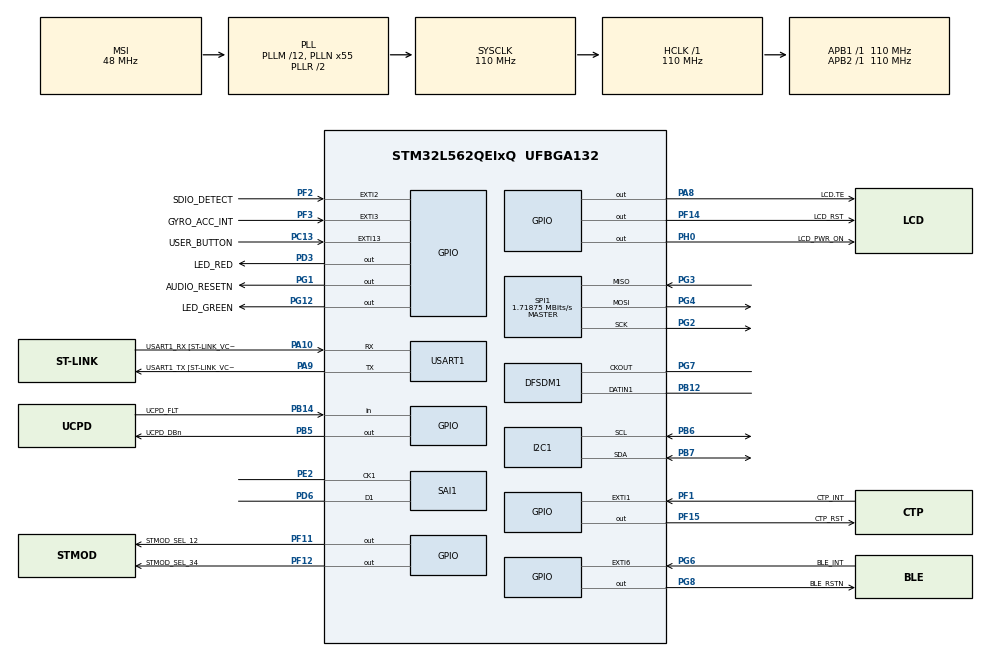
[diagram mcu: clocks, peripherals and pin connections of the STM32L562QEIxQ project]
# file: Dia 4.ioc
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DFSDM1.Filter_regChannel_FIL0=DFSDM_CHANNEL_1
I2C1.Timing=0x60514452
Mcu.Family=STM32L5
Mcu.Name=STM32L562QEIxQ
Mcu.Package=UFBGA132
Mcu.TrustZone=disable
NVIC.EXTI13_IRQn=true\:0\:0\:false\:false\:true\:true\:true\:true
NVIC.PriorityGroup=NVIC_PRIORITYGROUP_3
NVIC.SPI1_IRQn=true\:3\:0\:true\:false\:true\:true\:true\:true
NVIC.TIM2_IRQn=true\:1\:0\:true\:false\:true\:true\:true\:true
NVIC.USART1_IRQn=true\:2\:0\:true\:false\:true\:true\:true\:true
PA10.GPIO_Label=USART1_RX [ST-LINK_VCP_TX]
PA10.Mode=Asynchronous
PA10.Signal=USART1_RX
PA11.Signal=USB_DM
PA12.Signal=USB_DP
PA13\ (JTMS/SWDIO).Signal=DEBUG_JTMS-SWDIO
PA14\ (JTCK/SWCLK).Signal=DEBUG_JTCK-SWCLK
PA15\ (JTDI).Signal=UCPD1_CC1
PA2.Signal=OCTOSPI1_NCS
PA3.Signal=OCTOSPI1_CLK
PA4.GPIO_Label=VBUS_SENSE
PA4.Signal=ADCx_IN9
PA6.Signal=OCTOSPI1_IO3
PA7.Signal=OCTOSPI1_IO2
PA8.GPIO_Label=LCD.TE
PA8.Signal=GPIO_Output
PA9.GPIO_Label=USART1_TX [ST-LINK_VCP_RX]
PA9.Mode=Asynchronous
PA9.Signal=USART1_TX
PB0.Signal=OCTOSPI1_IO1
PB1.Signal=OCTOSPI1_IO0
PB10.Signal=LPUART1_RX
PB11.Signal=LPUART1_TX
PB12.Signal=S_DATAIN1DFSDM1
PB14.GPIO_Label=UCPD_FLT
PB14.Signal=GPIO_Input
PB15.Signal=UCPD1_CC2
PB2.Signal=OCTOSPI1_DQS
PB3\ (JTDO/TRACESWO).Signal=DEBUG_JTDO-SWO
PB5.GPIO_Label=UCPD_DBn
PB5.Signal=GPIO_Output
PB6.Mode=I2C
PB6.Signal=I2C1_SCL
PB7.Mode=I2C
PB7.Signal=I2C1_SDA
PC0.Signal=OCTOSPI1_IO7
PC1.Signal=OCTOSPI1_IO4
PC10.Signal=SDMMC1_D2
PC11.Signal=SDMMC1_D3
PC12.Signal=SDMMC1_CK
PC13.GPIO_Label=USER_BUTTON
PC13.GPIO_ModeDefaultEXTI=GPIO_MODE_IT_FALLING
PC13.GPIO_PuPd=GPIO_PULLDOWN
PC13.Signal=GPXTI13
PC14-OSC32_IN\ (PC14).Signal=RCC_OSC32_IN
PC15-OSC32_OUT\ (PC15).Signal=RCC_OSC32_OUT
PC2.Signal=OCTOSPI1_IO5
PC3.Signal=OCTOSPI1_IO6
PC8.Signal=SDMMC1_D0
PC9.Signal=SDMMC1_D1
PD0.Signal=FMC_D2_DA2
PD1.Signal=FMC_D3_DA3
PD10.Signal=FMC_D15_DA15
PD14.Signal=FMC_D0_DA0
PD15.Signal=FMC_D1_DA1
PD2.Signal=SDMMC1_CMD
PD3.GPIO_Label=LED_RED
PD3.Signal=GPIO_Output
PD4.Signal=FMC_NOE
PD5.Signal=FMC_NWE
PD6.Mode=PDM_Master_Mode_CK1
PD6.Signal=SAI1_D1
PD7.Signal=FMC_NE1
PD8.Signal=FMC_D13_DA13
PD9.Signal=FMC_D14_DA14
PE1.GPIO_Label=LCD_BL_PWM
PE1.Signal=S_TIM17_CH1
PE10.Signal=FMC_D7_DA7
PE11.Signal=FMC_D8_DA8
PE12.Signal=FMC_D9_DA9
PE13.Signal=FMC_D10_DA10
PE14.Signal=FMC_D11_DA11
PE15.Signal=FMC_D12_DA12
PE2.Mode=PDM_Master_Mode_CK1
PE2.Signal=SAI1_CK1
PE3.Signal=SAI1_SD_B
PE4.Signal=SAI1_FS_A
PE5.Signal=SAI1_SCK_A
PE6.Signal=SAI1_SD_A
PE7.Signal=FMC_D4_DA4
PE8.Signal=FMC_D5_DA5
PE9.Signal=FMC_D6_DA6
PF0.Signal=FMC_A0
PF1.GPIO_Label=CTP_INT
PF1.Signal=GPXTI1
PF11.GPIO_Label=STMOD_SEL_12
PF11.Signal=GPIO_Output
PF12.GPIO_Label=STMOD_SEL_34
PF12.Signal=GPIO_Output
PF14.GPIO_Label=LCD_RST
PF14.Signal=GPIO_Output
PF15.GPIO_Label=CTP_RST
PF15.Signal=GPIO_Output
PF2.GPIO_Label=SDIO_DETECT
PF2.Signal=GPXTI2
PF3.GPIO_Label=GYRO_ACC_INT
PF3.Signal=GPXTI3
PG1.GPIO_Label=AUDIO_RESETN
PG1.Signal=GPIO_Output
PG12.GPIO_Label=LED_GREEN
PG12.Signal=GPIO_Output
PG2.Mode=Full_Duplex_Master
PG2.Signal=SPI1_SCK
PG3.Mode=Full_Duplex_Master
PG3.Signal=SPI1_MISO
PG4.Mode=Full_Duplex_Master
PG4.Signal=SPI1_MOSI
PG5.GPIO_Label=BLE_CSN
PG5.Signal=SPI1_NSS
PG6.GPIO_Label=BLE_INT
PG6.Signal=GPXTI6
PG7.Signal=S_CKOUTDFSDM1
PG8.GPIO_Label=BLE_RSTN
PG8.Signal=GPIO_Output
PH0-OSC_IN\ (PH0).GPIO_Label=LCD_PWR_ON
PH0-OSC_IN\ (PH0).Signal=GPIO_Output
ProjectManager.HeapSize=0x200
ProjectManager.StackSize=0x400
ProjectManager.TargetToolchain=STM32CubeIDE
RCC.ADCFreq_Value=96000000
RCC.AHBFreq_Value=110000000
RCC.APB1Freq_Value=110000000
RCC.APB1TimFreq_Value=110000000
RCC.APB2Freq_Value=110000000
RCC.APB2TimFreq_Value=110000000
RCC.CK48CLockSelection=RCC_USBCLKSOURCE_MSI
RCC.CortexFreq_Value=110000000
RCC.HCLKFreq_Value=110000000
RCC.HSE_VALUE=8000000
RCC.HSI48_VALUE=48000000
RCC.HSI_VALUE=16000000
RCC.MSIClockRange=RCC_MSIRANGE_11
RCC.MSI_VALUE=48000000
RCC.PLLM=12
RCC.PLLN=55
RCC.PLLSAI1M=4
RCC.PLLSAI1N=48
RCC.PLLSAI1P=RCC_PLLP_DIV17
RCC.PLLSAI1Source=RCC_PLLSAI1SOURCE_HSI
RCC.SDMMCClockSelection=RCC_SDIOCLKSOURCE_CLK48
RCC.SYSCLKFreq_VALUE=110000000
RCC.SYSCLKSource=RCC_SYSCLKSOURCE_PLLCLK
RCC.USBFreq_Value=48000000
RCC.VCOOutputFreq_Value=220000000
SAI1.Activation=ENABLE
SAI1.ErrorAudioFreq-PDM_Master_Mode_CK1=-77.02 %
SAI1.Instance-PDM_Master_Mode_CK1=SAI$Index_Block_A
SAI1.MckOutput-PDM_Master_Mode_CK1=SAI_MCK_OUTPUT_DISABLE
SAI1.RealAudioFreq-PDM_Master_Mode_CK1=44.117 KHz
SAI1.VirtualMode-PDM_Master_Mode_CK1=VM_MASTER
SAI1.VirtualProtocol-PDM_Master_Mode_CK1=VM_PDM_PROTOCOL
SH.ADCx_IN9.0=ADC1_IN9
SH.FMC_A0.0=FMC_A0
SH.FMC_D0_DA0.0=FMC_DA0
SH.FMC_D0_DA0.1=FMC_D0
SH.FMC_D10_DA10.0=FMC_DA10
SH.FMC_D10_DA10.1=FMC_D10
SH.FMC_D11_DA11.0=FMC_DA11
SH.FMC_D11_DA11.1=FMC_D11
SH.FMC_D12_DA12.0=FMC_DA12
SH.FMC_D12_DA12.1=FMC_D12
SH.FMC_D13_DA13.0=FMC_DA13
SH.FMC_D13_DA13.1=FMC_D13
SH.FMC_D14_DA14.0=FMC_DA14
SH.FMC_D14_DA14.1=FMC_D14
SH.FMC_D15_DA15.0=FMC_DA15
SH.FMC_D15_DA15.1=FMC_D15
SH.FMC_D1_DA1.0=FMC_DA1
SH.FMC_D1_DA1.1=FMC_D1
SH.FMC_D2_DA2.0=FMC_DA2
SH.FMC_D2_DA2.1=FMC_D2
SH.FMC_D3_DA3.0=FMC_DA3
SH.FMC_D3_DA3.1=FMC_D3
SH.FMC_D4_DA4.0=FMC_DA4
SH.FMC_D4_DA4.1=FMC_D4
SH.FMC_D5_DA5.0=FMC_DA5
SH.FMC_D5_DA5.1=FMC_D5
SH.FMC_D6_DA6.0=FMC_DA6
SH.FMC_D6_DA6.1=FMC_D6
SH.FMC_D7_DA7.0=FMC_DA7
SH.FMC_D7_DA7.1=FMC_D7
SH.FMC_D8_DA8.0=FMC_DA8
SH.FMC_D8_DA8.1=FMC_D8
SH.FMC_D9_DA9.0=FMC_DA9
SH.FMC_D9_DA9.1=FMC_D9
SH.FMC_NOE.0=FMC_NOE
SH.FMC_NWE.0=FMC_NWE
SH.S_CKOUTDFSDM1.0=DFSDM1_CKOUT,PDM_SPI_input_from_ch1_and_internal_clock
SH.S_DATAIN1DFSDM1.0=DFSDM1_DATIN1,PDM_SPI_input_from_ch1_and_internal_clock
SH.S_TIM17_CH1.0=TIM17_CH1
SPI1.BaudRatePrescaler=SPI_BAUDRATEPRESCALER_64
SPI1.CalculateBaudRate=1.71875 MBits/s
SPI1.DataSize=SPI_DATASIZE_8BIT
SPI1.Direction=SPI_DIRECTION_2LINES
SPI1.Mode=SPI_MODE_MASTER
SPI1.NSSPMode=SPI_NSS_PULSE_DISABLE
SPI1.VirtualType=VM_MASTER
TIM2.Period=9
TIM2.Prescaler=10999
USART1.VirtualMode-Asynchronous=VM_ASYNC
VP_ICACHE_VS_ICACHE.Mode=DirectMappedCache
VP_PWR_VS_DBSignals.Mode=DisableDeadBatterySignals
VP_PWR_VS_SECSignals.Mode=Security/Privilege
VP_TIM2_VS_ClockSourceINT.Mode=Internal
board=STM32L562E-DK

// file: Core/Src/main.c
/* USER CODE BEGIN Header */
/**
  ******************************************************************************
  * @file           : main.c
  * @brief          : Main program body
  ******************************************************************************
  * @attention
  *
  * Copyright (c) 2025 STMicroelectronics.
  * All rights reserved.
  *
  * This software is licensed under terms that can be found in the LICENSE file
  * in the root directory of this software component.
  * If no LICENSE file comes with this software, it is provided AS-IS.
  *
  ******************************************************************************
  */
/* USER CODE END Header */
#include "main.h"

/* USER CODE BEGIN Includes */
#include <stdio.h>
#include <string.h>
/* USER CODE END Includes */

/* USER CODE BEGIN PD */

volatile struct {
    uint8_t user_button_pushed : 1;  // solo 1 bit
    uint8_t future_bool : 1; 		 // solo 1 bit
    uint8_t undefined : 6; 			 // los 6 bits restantes del byte
} bools;

/* USER CODE END PD */

/* USER CODE BEGIN PM */

uint16_t second_period = 0;

/* USER CODE END PM */

DFSDM_Filter_HandleTypeDef hdfsdm1_filter0;
DFSDM_Channel_HandleTypeDef hdfsdm1_channel1;

I2C_HandleTypeDef hi2c1;

SAI_HandleTypeDef hsai_BlockA1;

SPI_HandleTypeDef hspi1;

TIM_HandleTypeDef htim2;

UART_HandleTypeDef huart1;

void SystemClock_Config(void);
static void MX_GPIO_Init(void);
static void MX_ICACHE_Init(void);
static void MX_I2C1_Init(void);
static void MX_SPI1_Init(void);
static void MX_TIM2_Init(void);
static void MX_USART1_UART_Init(void);
static void MX_SAI1_Init(void);
static void MX_DFSDM1_Init(void);

int main(void)
{

  /* MCU Configuration--------------------------------------------------------*/

  /* Reset of all peripherals, Initializes the Flash interface and the Systick. */
  HAL_Init();

  /* Configure the system clock */
  SystemClock_Config();

  /* Initialize all configured peripherals */
  MX_GPIO_Init();
  MX_ICACHE_Init();
  MX_I2C1_Init();
  MX_SPI1_Init();
  MX_TIM2_Init();
  MX_USART1_UART_Init();
  MX_SAI1_Init();
  MX_DFSDM1_Init();
  /* USER CODE BEGIN 2 */

  bools.user_button_pushed= 0;																			//No se puede usar fuera de una función
  HAL_TIM_Base_Start_IT(&htim2);
  HAL_SAI_Init(&hsai_BlockA1);
  HAL_UART_Init(&huart1);

  //desesperado

  HAL_DFSDM_ChannelInit(&hdfsdm1_channel1);
  HAL_DFSDM_FilterInit(&hdfsdm1_filter0);
  HAL_DFSDM_FilterMspInit(&hdfsdm1_filter0);

  uint32_t buffer[16];
  char msg[1280];
  /* USER CODE END 2 */

  /* Infinite loop */
  while (1)
  {

    /* USER CODE BEGIN 3 */
//	/*
	  if(bools.user_button_pushed==1){
//		HAL_SAI_Receive(&hsai_BlockA1, buffer, 16, HAL_MAX_DELAY);

		HAL_Delay(2000);
		HAL_GPIO_WritePin(LED_RED_GPIO_Port, LED_RED_Pin, RESET);
		for(int i =0; i<16; i++ ){

			  HAL_DFSDM_FilterRegularStart(&hdfsdm1_filter0);
			  HAL_Delay(10);
			  HAL_DFSDM_FilterPollForRegConversion(&hdfsdm1_filter0, 100);
			  HAL_DFSDM_FilterGetRegularValue(&hdfsdm1_filter0, &buffer[i]);

			sprintf(msg, "%lu\r\n", buffer[i]);
			HAL_UART_Transmit(&huart1, (uint8_t*)msg, strlen(msg) , HAL_MAX_DELAY);

		}
	}
  }
//	*/

	 /*
	if(HAL_SAI_Receive(&hsai_BlockA1, buffer, 16, 10) == HAL_OK){
	    // sí recibí datos
	    sprintf(msg, "Dato: %u\r\n", buffer[0]);
	    HAL_UART_Transmit(&huart1, (uint8_t*)msg, strlen(msg), HAL_MAX_DELAY);
	} else {
	    // no recibí ni la hora
	    sprintf(msg, "Timeout\r\n");
	    HAL_UART_Transmit(&huart1, (uint8_t*)msg, strlen(msg), HAL_MAX_DELAY);
	}
  }
	 */
  /* USER CODE END 3 */
}

void SystemClock_Config(void)
{
  RCC_OscInitTypeDef RCC_OscInitStruct = {0};
  RCC_ClkInitTypeDef RCC_ClkInitStruct = {0};

  /** Configure the main internal regulator output voltage
  */
  if (HAL_PWREx_ControlVoltageScaling(PWR_REGULATOR_VOLTAGE_SCALE0) != HAL_OK)
  {
    Error_Handler();
  }

  /** Initializes the RCC Oscillators according to the specified parameters
  * in the RCC_OscInitTypeDef structure.
  */
  RCC_OscInitStruct.OscillatorType = RCC_OSCILLATORTYPE_HSI|RCC_OSCILLATORTYPE_MSI;
  RCC_OscInitStruct.HSIState = RCC_HSI_ON;
  RCC_OscInitStruct.HSICalibrationValue = RCC_HSICALIBRATION_DEFAULT;
  RCC_OscInitStruct.MSIState = RCC_MSI_ON;
  RCC_OscInitStruct.MSICalibrationValue = RCC_MSICALIBRATION_DEFAULT;
  RCC_OscInitStruct.MSIClockRange = RCC_MSIRANGE_11;
  RCC_OscInitStruct.PLL.PLLState = RCC_PLL_ON;
  RCC_OscInitStruct.PLL.PLLSource = RCC_PLLSOURCE_MSI;
  RCC_OscInitStruct.PLL.PLLM = 12;
  RCC_OscInitStruct.PLL.PLLN = 55;
  RCC_OscInitStruct.PLL.PLLP = RCC_PLLP_DIV7;
  RCC_OscInitStruct.PLL.PLLQ = RCC_PLLQ_DIV2;
  RCC_OscInitStruct.PLL.PLLR = RCC_PLLR_DIV2;
  if (HAL_RCC_OscConfig(&RCC_OscInitStruct) != HAL_OK)
  {
    Error_Handler();
  }

  /** Initializes the CPU, AHB and APB buses clocks
  */
  RCC_ClkInitStruct.ClockType = RCC_CLOCKTYPE_HCLK|RCC_CLOCKTYPE_SYSCLK
                              |RCC_CLOCKTYPE_PCLK1|RCC_CLOCKTYPE_PCLK2;
  RCC_ClkInitStruct.SYSCLKSource = RCC_SYSCLKSOURCE_PLLCLK;
  RCC_ClkInitStruct.AHBCLKDivider = RCC_SYSCLK_DIV1;
  RCC_ClkInitStruct.APB1CLKDivider = RCC_HCLK_DIV1;
  RCC_ClkInitStruct.APB2CLKDivider = RCC_HCLK_DIV1;

  if (HAL_RCC_ClockConfig(&RCC_ClkInitStruct, FLASH_LATENCY_5) != HAL_OK)
  {
    Error_Handler();
  }
}

static void MX_DFSDM1_Init(void)
{

  hdfsdm1_filter0.Instance = DFSDM1_Filter0;
  hdfsdm1_filter0.Init.RegularParam.Trigger = DFSDM_FILTER_SW_TRIGGER;
  hdfsdm1_filter0.Init.RegularParam.FastMode = DISABLE;
  hdfsdm1_filter0.Init.RegularParam.DmaMode = DISABLE;
  hdfsdm1_filter0.Init.FilterParam.SincOrder = DFSDM_FILTER_FASTSINC_ORDER;
  hdfsdm1_filter0.Init.FilterParam.Oversampling = 1;
  hdfsdm1_filter0.Init.FilterParam.IntOversampling = 1;
  if (HAL_DFSDM_FilterInit(&hdfsdm1_filter0) != HAL_OK)
  {
    Error_Handler();
  }
  hdfsdm1_channel1.Instance = DFSDM1_Channel1;
  hdfsdm1_channel1.Init.OutputClock.Activation = ENABLE;
  hdfsdm1_channel1.Init.OutputClock.Selection = DFSDM_CHANNEL_OUTPUT_CLOCK_SYSTEM;
  hdfsdm1_channel1.Init.OutputClock.Divider = 2;
  hdfsdm1_channel1.Init.Input.Multiplexer = DFSDM_CHANNEL_EXTERNAL_INPUTS;
  hdfsdm1_channel1.Init.Input.DataPacking = DFSDM_CHANNEL_STANDARD_MODE;
  hdfsdm1_channel1.Init.Input.Pins = DFSDM_CHANNEL_SAME_CHANNEL_PINS;
  hdfsdm1_channel1.Init.SerialInterface.Type = DFSDM_CHANNEL_SPI_RISING;
  hdfsdm1_channel1.Init.SerialInterface.SpiClock = DFSDM_CHANNEL_SPI_CLOCK_INTERNAL;
  hdfsdm1_channel1.Init.Awd.FilterOrder = DFSDM_CHANNEL_FASTSINC_ORDER;
  hdfsdm1_channel1.Init.Awd.Oversampling = 1;
  hdfsdm1_channel1.Init.Offset = 0;
  hdfsdm1_channel1.Init.RightBitShift = 0x00;
  if (HAL_DFSDM_ChannelInit(&hdfsdm1_channel1) != HAL_OK)
  {
    Error_Handler();
  }
  if (HAL_DFSDM_FilterConfigRegChannel(&hdfsdm1_filter0, DFSDM_CHANNEL_1, DFSDM_CONTINUOUS_CONV_ON) != HAL_OK)
  {
    Error_Handler();
  }

}

static void MX_I2C1_Init(void)
{

  hi2c1.Instance = I2C1;
  hi2c1.Init.Timing = 0x60514452;
  hi2c1.Init.OwnAddress1 = 0;
  hi2c1.Init.AddressingMode = I2C_ADDRESSINGMODE_7BIT;
  hi2c1.Init.DualAddressMode = I2C_DUALADDRESS_DISABLE;
  hi2c1.Init.OwnAddress2 = 0;
  hi2c1.Init.OwnAddress2Masks = I2C_OA2_NOMASK;
  hi2c1.Init.GeneralCallMode = I2C_GENERALCALL_DISABLE;
  hi2c1.Init.NoStretchMode = I2C_NOSTRETCH_DISABLE;
  if (HAL_I2C_Init(&hi2c1) != HAL_OK)
  {
    Error_Handler();
  }

  /** Configure Analogue filter
  */
  if (HAL_I2CEx_ConfigAnalogFilter(&hi2c1, I2C_ANALOGFILTER_ENABLE) != HAL_OK)
  {
    Error_Handler();
  }

  /** Configure Digital filter
  */
  if (HAL_I2CEx_ConfigDigitalFilter(&hi2c1, 0) != HAL_OK)
  {
    Error_Handler();
  }

}

static void MX_ICACHE_Init(void)
{

  /** Enable instruction cache in 1-way (direct mapped cache)
  */
  if (HAL_ICACHE_ConfigAssociativityMode(ICACHE_1WAY) != HAL_OK)
  {
    Error_Handler();
  }
  if (HAL_ICACHE_Enable() != HAL_OK)
  {
    Error_Handler();
  }

}

static void MX_SAI1_Init(void)
{

  hsai_BlockA1.Instance = SAI1_Block_A;
  hsai_BlockA1.Init.Protocol = SAI_FREE_PROTOCOL;
  hsai_BlockA1.Init.AudioMode = SAI_MODEMASTER_RX;
  hsai_BlockA1.Init.DataSize = SAI_DATASIZE_8;
  hsai_BlockA1.Init.FirstBit = SAI_FIRSTBIT_MSB;
  hsai_BlockA1.Init.ClockStrobing = SAI_CLOCKSTROBING_FALLINGEDGE;
  hsai_BlockA1.Init.Synchro = SAI_ASYNCHRONOUS;
  hsai_BlockA1.Init.OutputDrive = SAI_OUTPUTDRIVE_DISABLE;
  hsai_BlockA1.Init.NoDivider = SAI_MASTERDIVIDER_ENABLE;
  hsai_BlockA1.Init.FIFOThreshold = SAI_FIFOTHRESHOLD_EMPTY;
  hsai_BlockA1.Init.AudioFrequency = SAI_AUDIO_FREQUENCY_192K;
  hsai_BlockA1.Init.MonoStereoMode = SAI_STEREOMODE;
  hsai_BlockA1.Init.CompandingMode = SAI_NOCOMPANDING;
  hsai_BlockA1.Init.PdmInit.Activation = ENABLE;
  hsai_BlockA1.Init.PdmInit.MicPairsNbr = 1;
  hsai_BlockA1.Init.PdmInit.ClockEnable = SAI_PDM_CLOCK1_ENABLE;
  hsai_BlockA1.FrameInit.FrameLength = 8;
  hsai_BlockA1.FrameInit.ActiveFrameLength = 1;
  hsai_BlockA1.FrameInit.FSDefinition = SAI_FS_STARTFRAME;
  hsai_BlockA1.FrameInit.FSPolarity = SAI_FS_ACTIVE_LOW;
  hsai_BlockA1.FrameInit.FSOffset = SAI_FS_FIRSTBIT;
  hsai_BlockA1.SlotInit.FirstBitOffset = 0;
  hsai_BlockA1.SlotInit.SlotSize = SAI_SLOTSIZE_DATASIZE;
  hsai_BlockA1.SlotInit.SlotNumber = 1;
  hsai_BlockA1.SlotInit.SlotActive = 0x00000000;
  if (HAL_SAI_Init(&hsai_BlockA1) != HAL_OK)
  {
    Error_Handler();
  }

}

static void MX_SPI1_Init(void)
{

  /* SPI1 parameter configuration*/
  hspi1.Instance = SPI1;
  hspi1.Init.Mode = SPI_MODE_MASTER;
  hspi1.Init.Direction = SPI_DIRECTION_2LINES;
  hspi1.Init.DataSize = SPI_DATASIZE_8BIT;
  hspi1.Init.CLKPolarity = SPI_POLARITY_LOW;
  hspi1.Init.CLKPhase = SPI_PHASE_1EDGE;
  hspi1.Init.NSS = SPI_NSS_SOFT;
  hspi1.Init.BaudRatePrescaler = SPI_BAUDRATEPRESCALER_64;
  hspi1.Init.FirstBit = SPI_FIRSTBIT_MSB;
  hspi1.Init.TIMode = SPI_TIMODE_DISABLE;
  hspi1.Init.CRCCalculation = SPI_CRCCALCULATION_DISABLE;
  hspi1.Init.CRCPolynomial = 7;
  hspi1.Init.CRCLength = SPI_CRC_LENGTH_DATASIZE;
  hspi1.Init.NSSPMode = SPI_NSS_PULSE_DISABLE;
  if (HAL_SPI_Init(&hspi1) != HAL_OK)
  {
    Error_Handler();
  }

}

static void MX_TIM2_Init(void)
{

  TIM_ClockConfigTypeDef sClockSourceConfig = {0};
  TIM_MasterConfigTypeDef sMasterConfig = {0};

  htim2.Instance = TIM2;
  htim2.Init.Prescaler = 10999;
  htim2.Init.CounterMode = TIM_COUNTERMODE_UP;
  htim2.Init.Period = 9;
  htim2.Init.ClockDivision = TIM_CLOCKDIVISION_DIV1;
  htim2.Init.AutoReloadPreload = TIM_AUTORELOAD_PRELOAD_DISABLE;
  if (HAL_TIM_Base_Init(&htim2) != HAL_OK)
  {
    Error_Handler();
  }
  sClockSourceConfig.ClockSource = TIM_CLOCKSOURCE_INTERNAL;
  if (HAL_TIM_ConfigClockSource(&htim2, &sClockSourceConfig) != HAL_OK)
  {
    Error_Handler();
  }
  sMasterConfig.MasterOutputTrigger = TIM_TRGO_RESET;
  sMasterConfig.MasterSlaveMode = TIM_MASTERSLAVEMODE_DISABLE;
  if (HAL_TIMEx_MasterConfigSynchronization(&htim2, &sMasterConfig) != HAL_OK)
  {
    Error_Handler();
  }

}

static void MX_USART1_UART_Init(void)
{

  huart1.Instance = USART1;
  huart1.Init.BaudRate = 115200;
  huart1.Init.WordLength = UART_WORDLENGTH_8B;
  huart1.Init.StopBits = UART_STOPBITS_1;
  huart1.Init.Parity = UART_PARITY_NONE;
  huart1.Init.Mode = UART_MODE_TX_RX;
  huart1.Init.HwFlowCtl = UART_HWCONTROL_NONE;
  huart1.Init.OverSampling = UART_OVERSAMPLING_16;
  huart1.Init.OneBitSampling = UART_ONE_BIT_SAMPLE_DISABLE;
  huart1.Init.ClockPrescaler = UART_PRESCALER_DIV1;
  huart1.AdvancedInit.AdvFeatureInit = UART_ADVFEATURE_NO_INIT;
  if (HAL_UART_Init(&huart1) != HAL_OK)
  {
    Error_Handler();
  }
  if (HAL_UARTEx_SetTxFifoThreshold(&huart1, UART_TXFIFO_THRESHOLD_1_8) != HAL_OK)
  {
    Error_Handler();
  }
  if (HAL_UARTEx_SetRxFifoThreshold(&huart1, UART_RXFIFO_THRESHOLD_1_8) != HAL_OK)
  {
    Error_Handler();
  }
  if (HAL_UARTEx_DisableFifoMode(&huart1) != HAL_OK)
  {
    Error_Handler();
  }

}

static void MX_GPIO_Init(void)
{
  GPIO_InitTypeDef GPIO_InitStruct = {0};

  /* GPIO Ports Clock Enable */
  __HAL_RCC_GPIOE_CLK_ENABLE();
  __HAL_RCC_GPIOB_CLK_ENABLE();
  __HAL_RCC_GPIOG_CLK_ENABLE();
  HAL_PWREx_EnableVddIO2();
  __HAL_RCC_GPIOD_CLK_ENABLE();
  __HAL_RCC_GPIOC_CLK_ENABLE();
  __HAL_RCC_GPIOA_CLK_ENABLE();
  __HAL_RCC_GPIOF_CLK_ENABLE();
  __HAL_RCC_GPIOH_CLK_ENABLE();

  /*Configure GPIO pin Output Level */
  HAL_GPIO_WritePin(GPIOG, LED_GREEN_Pin|BLE_RSTN_Pin|AUDIO_RESETN_Pin, GPIO_PIN_RESET);

  /*Configure GPIO pin Output Level */
  HAL_GPIO_WritePin(LED_RED_GPIO_Port, LED_RED_Pin, GPIO_PIN_RESET);

  /*Configure GPIO pin Output Level */
  HAL_GPIO_WritePin(UCPD_DBn_GPIO_Port, UCPD_DBn_Pin, GPIO_PIN_RESET);

  /*Configure GPIO pin Output Level */
  HAL_GPIO_WritePin(LCD_TE_GPIO_Port, LCD_TE_Pin, GPIO_PIN_RESET);

  /*Configure GPIO pin Output Level */
  HAL_GPIO_WritePin(LCD_PWR_ON_GPIO_Port, LCD_PWR_ON_Pin, GPIO_PIN_RESET);

  /*Configure GPIO pin Output Level */
  HAL_GPIO_WritePin(GPIOF, LCD_RST_Pin|STMOD_SEL_12_Pin|STMOD_SEL_34_Pin|CTP_RST_Pin, GPIO_PIN_RESET);

  /*Configure GPIO pin : LCD_BL_PWM_Pin */
  GPIO_InitStruct.Pin = LCD_BL_PWM_Pin;
  GPIO_InitStruct.Mode = GPIO_MODE_AF_PP;
  GPIO_InitStruct.Pull = GPIO_NOPULL;
  GPIO_InitStruct.Speed = GPIO_SPEED_FREQ_LOW;
  GPIO_InitStruct.Alternate = GPIO_AF14_TIM17;
  HAL_GPIO_Init(LCD_BL_PWM_GPIO_Port, &GPIO_InitStruct);

  /*Configure GPIO pins : LED_GREEN_Pin BLE_RSTN_Pin AUDIO_RESETN_Pin */
  GPIO_InitStruct.Pin = LED_GREEN_Pin|BLE_RSTN_Pin|AUDIO_RESETN_Pin;
  GPIO_InitStruct.Mode = GPIO_MODE_OUTPUT_PP;
  GPIO_InitStruct.Pull = GPIO_NOPULL;
  GPIO_InitStruct.Speed = GPIO_SPEED_FREQ_LOW;
  HAL_GPIO_Init(GPIOG, &GPIO_InitStruct);

  /*Configure GPIO pins : PD5 PD4 PD1 PD0
                           PD7 PD14 PD15 PD9
                           PD8 PD10 */
  GPIO_InitStruct.Pin = GPIO_PIN_5|GPIO_PIN_4|GPIO_PIN_1|GPIO_PIN_0
                          |GPIO_PIN_7|GPIO_PIN_14|GPIO_PIN_15|GPIO_PIN_9
                          |GPIO_PIN_8|GPIO_PIN_10;
  GPIO_InitStruct.Mode = GPIO_MODE_AF_PP;
  GPIO_InitStruct.Pull = GPIO_NOPULL;
  GPIO_InitStruct.Speed = GPIO_SPEED_FREQ_VERY_HIGH;
  GPIO_InitStruct.Alternate = GPIO_AF12_FMC;
  HAL_GPIO_Init(GPIOD, &GPIO_InitStruct);

  /*Configure GPIO pin : PD2 */
  GPIO_InitStruct.Pin = GPIO_PIN_2;
  GPIO_InitStruct.Mode = GPIO_MODE_AF_PP;
  GPIO_InitStruct.Pull = GPIO_NOPULL;
  GPIO_InitStruct.Speed = GPIO_SPEED_FREQ_VERY_HIGH;
  GPIO_InitStruct.Alternate = GPIO_AF12_SDMMC1;
  HAL_GPIO_Init(GPIOD, &GPIO_InitStruct);

  /*Configure GPIO pins : PC11 PC12 PC10 PC9
                           PC8 */
  GPIO_InitStruct.Pin = GPIO_PIN_11|GPIO_PIN_12|GPIO_PIN_10|GPIO_PIN_9
                          |GPIO_PIN_8;
  GPIO_InitStruct.Mode = GPIO_MODE_AF_PP;
  GPIO_InitStruct.Pull = GPIO_NOPULL;
  GPIO_InitStruct.Speed = GPIO_SPEED_FREQ_VERY_HIGH;
  GPIO_InitStruct.Alternate = GPIO_AF12_SDMMC1;
  HAL_GPIO_Init(GPIOC, &GPIO_InitStruct);

  /*Configure GPIO pins : PA15 VBUS_SENSE_Pin */
  GPIO_InitStruct.Pin = GPIO_PIN_15|VBUS_SENSE_Pin;
  GPIO_InitStruct.Mode = GPIO_MODE_ANALOG;
  GPIO_InitStruct.Pull = GPIO_NOPULL;
  HAL_GPIO_Init(GPIOA, &GPIO_InitStruct);

  /*Configure GPIO pins : PA12 PA11 */
  GPIO_InitStruct.Pin = GPIO_PIN_12|GPIO_PIN_11;
  GPIO_InitStruct.Mode = GPIO_MODE_AF_PP;
  GPIO_InitStruct.Pull = GPIO_NOPULL;
  GPIO_InitStruct.Speed = GPIO_SPEED_FREQ_LOW;
  GPIO_InitStruct.Alternate = GPIO_AF10_USB;
  HAL_GPIO_Init(GPIOA, &GPIO_InitStruct);

  /*Configure GPIO pin : USER_BUTTON_Pin */
  GPIO_InitStruct.Pin = USER_BUTTON_Pin;
  GPIO_InitStruct.Mode = GPIO_MODE_IT_FALLING;
  GPIO_InitStruct.Pull = GPIO_PULLDOWN;
  HAL_GPIO_Init(USER_BUTTON_GPIO_Port, &GPIO_InitStruct);

  /*Configure GPIO pin : LED_RED_Pin */
  GPIO_InitStruct.Pin = LED_RED_Pin;
  GPIO_InitStruct.Mode = GPIO_MODE_OUTPUT_PP;
  GPIO_InitStruct.Pull = GPIO_NOPULL;
  GPIO_InitStruct.Speed = GPIO_SPEED_FREQ_LOW;
  HAL_GPIO_Init(LED_RED_GPIO_Port, &GPIO_InitStruct);

  /*Configure GPIO pin : PF0 */
  GPIO_InitStruct.Pin = GPIO_PIN_0;
  GPIO_InitStruct.Mode = GPIO_MODE_AF_PP;
  GPIO_InitStruct.Pull = GPIO_NOPULL;
  GPIO_InitStruct.Speed = GPIO_SPEED_FREQ_VERY_HIGH;
  GPIO_InitStruct.Alternate = GPIO_AF12_FMC;
  HAL_GPIO_Init(GPIOF, &GPIO_InitStruct);

  /*Configure GPIO pins : GYRO_ACC_INT_Pin SDIO_DETECT_Pin CTP_INT_Pin */
  GPIO_InitStruct.Pin = GYRO_ACC_INT_Pin|SDIO_DETECT_Pin|CTP_INT_Pin;
  GPIO_InitStruct.Mode = GPIO_MODE_IT_RISING;
  GPIO_InitStruct.Pull = GPIO_NOPULL;
  HAL_GPIO_Init(GPIOF, &GPIO_InitStruct);

  /*Configure GPIO pin : UCPD_DBn_Pin */
  GPIO_InitStruct.Pin = UCPD_DBn_Pin;
  GPIO_InitStruct.Mode = GPIO_MODE_OUTPUT_PP;
  GPIO_InitStruct.Pull = GPIO_NOPULL;
  GPIO_InitStruct.Speed = GPIO_SPEED_FREQ_LOW;
  HAL_GPIO_Init(UCPD_DBn_GPIO_Port, &GPIO_InitStruct);

  /*Configure GPIO pin : LCD_TE_Pin */
  GPIO_InitStruct.Pin = LCD_TE_Pin;
  GPIO_InitStruct.Mode = GPIO_MODE_OUTPUT_PP;
  GPIO_InitStruct.Pull = GPIO_NOPULL;
  GPIO_InitStruct.Speed = GPIO_SPEED_FREQ_LOW;
  HAL_GPIO_Init(LCD_TE_GPIO_Port, &GPIO_InitStruct);

  /*Configure GPIO pin : LCD_PWR_ON_Pin */
  GPIO_InitStruct.Pin = LCD_PWR_ON_Pin;
  GPIO_InitStruct.Mode = GPIO_MODE_OUTPUT_PP;
  GPIO_InitStruct.Pull = GPIO_NOPULL;
  GPIO_InitStruct.Speed = GPIO_SPEED_FREQ_LOW;
  HAL_GPIO_Init(LCD_PWR_ON_GPIO_Port, &GPIO_InitStruct);

  /*Configure GPIO pins : PC2 PC3 PC1 */
  GPIO_InitStruct.Pin = GPIO_PIN_2|GPIO_PIN_3|GPIO_PIN_1;
  GPIO_InitStruct.Mode = GPIO_MODE_AF_PP;
  GPIO_InitStruct.Pull = GPIO_NOPULL;
  GPIO_InitStruct.Speed = GPIO_SPEED_FREQ_VERY_HIGH;
  GPIO_InitStruct.Alternate = GPIO_AF10_OCTOSPI1;
  HAL_GPIO_Init(GPIOC, &GPIO_InitStruct);

  /*Configure GPIO pin : BLE_INT_Pin */
  GPIO_InitStruct.Pin = BLE_INT_Pin;
  GPIO_InitStruct.Mode = GPIO_MODE_IT_RISING;
  GPIO_InitStruct.Pull = GPIO_NOPULL;
  HAL_GPIO_Init(BLE_INT_GPIO_Port, &GPIO_InitStruct);

  /*Configure GPIO pin : PC0 */
  GPIO_InitStruct.Pin = GPIO_PIN_0;
  GPIO_InitStruct.Mode = GPIO_MODE_AF_PP;
  GPIO_InitStruct.Pull = GPIO_NOPULL;
  GPIO_InitStruct.Speed = GPIO_SPEED_FREQ_VERY_HIGH;
  GPIO_InitStruct.Alternate = GPIO_AF3_OCTOSPI1;
  HAL_GPIO_Init(GPIOC, &GPIO_InitStruct);

  /*Configure GPIO pins : LCD_RST_Pin STMOD_SEL_12_Pin STMOD_SEL_34_Pin CTP_RST_Pin */
  GPIO_InitStruct.Pin = LCD_RST_Pin|STMOD_SEL_12_Pin|STMOD_SEL_34_Pin|CTP_RST_Pin;
  GPIO_InitStruct.Mode = GPIO_MODE_OUTPUT_PP;
  GPIO_InitStruct.Pull = GPIO_NOPULL;
  GPIO_InitStruct.Speed = GPIO_SPEED_FREQ_LOW;
  HAL_GPIO_Init(GPIOF, &GPIO_InitStruct);

  /*Configure GPIO pins : PE8 PE10 PE12 PE7
                           PE14 PE11 PE15 PE9
                           PE13 */
  GPIO_InitStruct.Pin = GPIO_PIN_8|GPIO_PIN_10|GPIO_PIN_12|GPIO_PIN_7
                          |GPIO_PIN_14|GPIO_PIN_11|GPIO_PIN_15|GPIO_PIN_9
                          |GPIO_PIN_13;
  GPIO_InitStruct.Mode = GPIO_MODE_AF_PP;
  GPIO_InitStruct.Pull = GPIO_NOPULL;
  GPIO_InitStruct.Speed = GPIO_SPEED_FREQ_VERY_HIGH;
  GPIO_InitStruct.Alternate = GPIO_AF12_FMC;
  HAL_GPIO_Init(GPIOE, &GPIO_InitStruct);

  /*Configure GPIO pins : PA2 PA7 PA3 PA6 */
  GPIO_InitStruct.Pin = GPIO_PIN_2|GPIO_PIN_7|GPIO_PIN_3|GPIO_PIN_6;
  GPIO_InitStruct.Mode = GPIO_MODE_AF_PP;
  GPIO_InitStruct.Pull = GPIO_NOPULL;
  GPIO_InitStruct.Speed = GPIO_SPEED_FREQ_VERY_HIGH;
  GPIO_InitStruct.Alternate = GPIO_AF10_OCTOSPI1;
  HAL_GPIO_Init(GPIOA, &GPIO_InitStruct);

  /*Configure GPIO pins : PB2 PB1 PB0 */
  GPIO_InitStruct.Pin = GPIO_PIN_2|GPIO_PIN_1|GPIO_PIN_0;
  GPIO_InitStruct.Mode = GPIO_MODE_AF_PP;
  GPIO_InitStruct.Pull = GPIO_NOPULL;
  GPIO_InitStruct.Speed = GPIO_SPEED_FREQ_VERY_HIGH;
  GPIO_InitStruct.Alternate = GPIO_AF10_OCTOSPI1;
  HAL_GPIO_Init(GPIOB, &GPIO_InitStruct);

  /*Configure GPIO pins : PB10 PB11 */
  GPIO_InitStruct.Pin = GPIO_PIN_10|GPIO_PIN_11;
  GPIO_InitStruct.Mode = GPIO_MODE_AF_PP;
  GPIO_InitStruct.Pull = GPIO_NOPULL;
  GPIO_InitStruct.Speed = GPIO_SPEED_FREQ_LOW;
  GPIO_InitStruct.Alternate = GPIO_AF8_LPUART1;
  HAL_GPIO_Init(GPIOB, &GPIO_InitStruct);

  /*Configure GPIO pin : UCPD_FLT_Pin */
  GPIO_InitStruct.Pin = UCPD_FLT_Pin;
  GPIO_InitStruct.Mode = GPIO_MODE_INPUT;
  GPIO_InitStruct.Pull = GPIO_NOPULL;
  HAL_GPIO_Init(UCPD_FLT_GPIO_Port, &GPIO_InitStruct);

  /*Configure GPIO pin : PB15 */
  GPIO_InitStruct.Pin = GPIO_PIN_15;
  GPIO_InitStruct.Mode = GPIO_MODE_ANALOG;
  GPIO_InitStruct.Pull = GPIO_NOPULL;
  HAL_GPIO_Init(GPIOB, &GPIO_InitStruct);

  /* EXTI interrupt init*/
  HAL_NVIC_SetPriority(EXTI13_IRQn, 0, 0);
  HAL_NVIC_EnableIRQ(EXTI13_IRQn);

}

/* USER CODE BEGIN 4 */

void HAL_TIM_PeriodElapsedCallback(TIM_HandleTypeDef *htim) {
    if(htim->Instance == TIM2) {
//__HAL_TIM_SET_AUTORELOAD(&htim2, 9);

    	if(bools.user_button_pushed == 1){

    		if(second_period==1000){
    			HAL_GPIO_TogglePin(LED_GREEN_GPIO_Port, LED_GREEN_Pin);
    			second_period = 0;
    		}else{
    			second_period = second_period + 1;
    		}
    	}
    }
}

void HAL_GPIO_EXTI_Falling_Callback(uint16_t GPIO_Pin){

	HAL_GPIO_WritePin(LED_RED_GPIO_Port, LED_RED_Pin, SET);

	if(bools.user_button_pushed == 0){
		bools.user_button_pushed = 1;
	}else{
		bools.user_button_pushed = 0;
	}
}

/* USER CODE END 4 */

void Error_Handler(void)
{
  __disable_irq();
  while (1)
  {
  }
}
